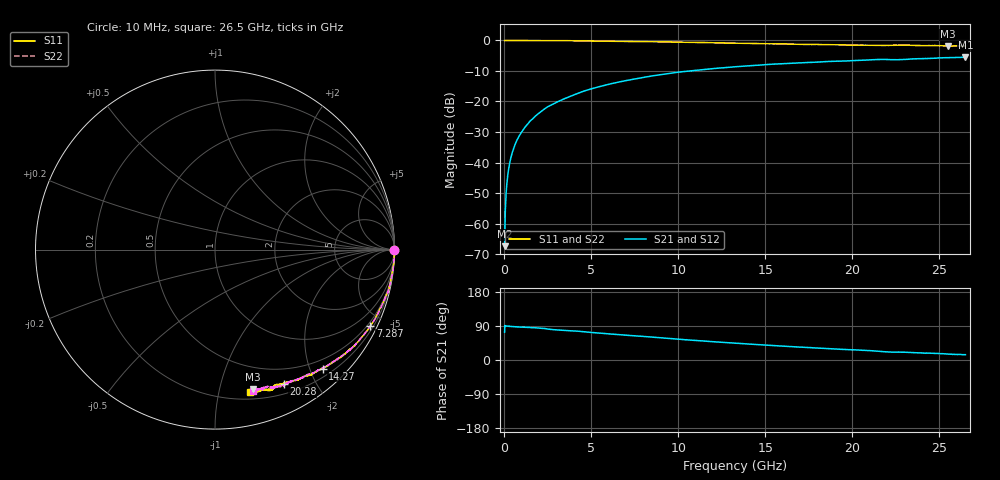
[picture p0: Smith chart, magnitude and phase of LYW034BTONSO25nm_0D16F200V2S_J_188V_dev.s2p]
!Keysight Technologies,N5222B,MY61253708,A.15.00.15
!Date: Wednesday, June 19, 2024 10:35:28
!Correction: S11(C  2-Port  )
!S21(C  2-Port  )
!S12(C  2-Port  )
!S22(C  2-Port  )
!S2P File: Measurements: S11, S21, S12, S22:
# Hz S  RI  R 50
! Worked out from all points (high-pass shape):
!   2651 points, 10 MHz to 26.5 GHz, reference 50 ohm
!   highest |S21| = -5.46 dB at 26.5 GHz (marker M1); lowest = -67.4 dB at 10 MHz (marker M2)
!   |S21| within 3 dB of the highest: 13.63978 GHz to 13.6599 GHz (20.12 MHz wide, 0.147 % of centre); 13.69 GHz to end of sweep
!   lowest |S11| = -1.9 dB at 25.5 GHz (marker M3), VSWR 9.33, Z = 14.3 - j63.5 ohm
!   |S11| at or under -10 dB: nowhere
!   |S22| runs from -1.8 to 0.0 dB; largest |S21 - S12| = 0.0068
!   S11 on the Smith chart (normalised r, x): 10 MHz: open; 7.287 GHz: 0.35, -4.26; 14.27 GHz: 0.34, -2.21; 20.28 GHz: 0.31, -1.59; 26.5 GHz: 0.26, -1.24
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1e7  0.9981 -0.00333  0.000122 0.000408  6.93e-05 0.000409  0.9987 -0.00175
6.997736e7  1 -0.00511  1.46e-05 0.00224  2.04e-05 0.00229  0.9997 -0.00472
1.699396e8  0.9999 -0.0116  7.69e-05 0.00551  4.71e-05 0.00552  0.9998 -0.0107
2.199208e8  0.9999 -0.0147  0.000103 0.00711  8.89e-05 0.00713  0.9995 -0.0138
2.798981e8  1 -0.0187  0.000222 0.00908  0.000157 0.00904  0.9999 -0.0178
3.898566e8  0.9995 -0.0263  0.000324 0.0126  0.000331 0.0126  0.9995 -0.0252
5.198075e8  0.9988 -0.034  0.000542 0.0168  0.000557 0.0168  0.9988 -0.033
8.696755e8  0.998 -0.0568  0.00153 0.0279  0.00154 0.028  0.9972 -0.0556
1.469449e9  0.9912 -0.0971  0.00356 0.0475  0.00361 0.0475  0.9937 -0.0924
2.329125e9  0.9825 -0.1491  0.00945 0.0759  0.00956 0.0762  0.9839 -0.1487
3.208792e9  0.9724 -0.204  0.0201 0.1016  0.0201 0.1019  0.9731 -0.2019
4.428332e9  0.945 -0.2759  0.0366 0.1385  0.0368 0.1389  0.9472 -0.272
5.767826e9  0.9106 -0.3472  0.0634 0.1733  0.0642 0.1739  0.9136 -0.3452
7.287253e9  0.8647 -0.4264  0.0982 0.2057  0.0992 0.2061  0.8676 -0.4226
8.846664e9  0.8103 -0.4966  0.1396 0.2332  0.1407 0.2334  0.813 -0.493
1.3255e10  0.6382 -0.6388  0.2641 0.2596  0.266 0.2591  0.6441 -0.6353
1.427462e10  0.5996 -0.6629  0.2901 0.2572  0.2922 0.2566  0.605 -0.6569
1.767333e10  0.4682 -0.7215  0.3698 0.2348  0.3727 0.2331  0.4815 -0.717
2.028235e10  0.3818 -0.7479  0.421 0.2089  0.4233 0.2066  0.4014 -0.7476
2.209166e10  0.333 -0.7577  0.4535 0.1753  0.455 0.1725  0.3305 -0.7627
2.550038e10  0.213 -0.7777  0.504 0.1398  0.505 0.1397  0.2371 -0.7795
2.65e10  0.1936 -0.7925  0.5177 0.1291  0.5166 0.1253  0.2108 -0.7901
